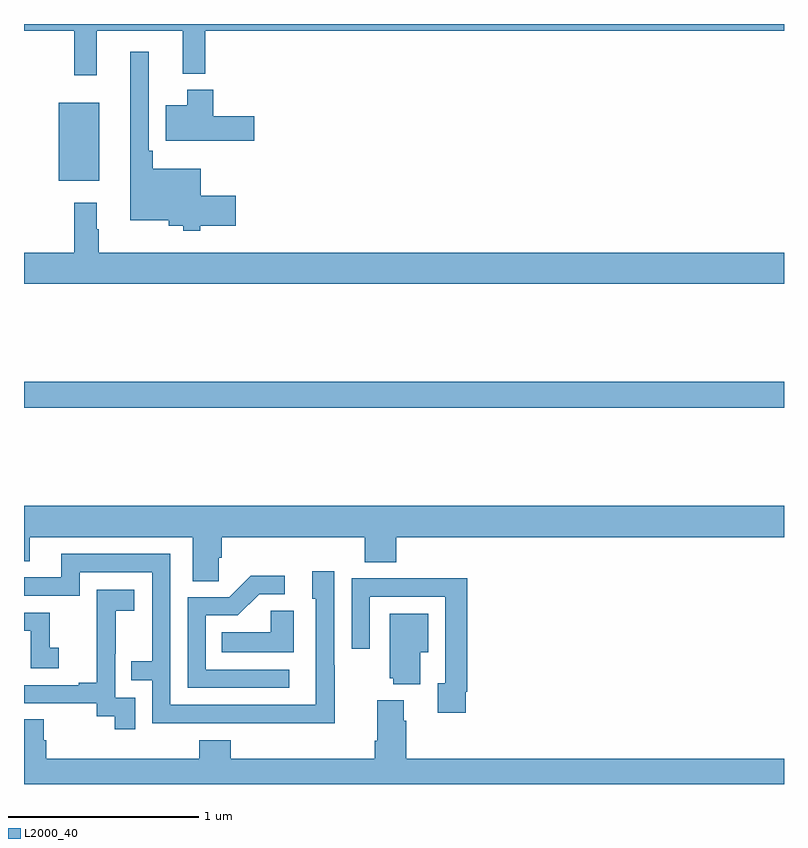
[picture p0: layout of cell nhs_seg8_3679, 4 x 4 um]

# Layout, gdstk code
import gdstk
lib = gdstk.Library(unit=1e-6, precision=1e-09)
def R(c, l, rs):  # rectangles x0, y0, x1, y1
    for r in rs: c.add(gdstk.rectangle(r[:2], r[2:], *l))
def P(c, l, *ps):  # polygons
    for p in ps: c.add(gdstk.Polygon(p, *l))
L2000_40 = (2000, 40)

nhs_seg8_3679 = lib.new_cell('nhs_seg8_3679')
R(nhs_seg8_3679, L2000_40, [(339,1083.88,343,1084.016), (339.182,1085.075,339.397,1085.485)])
P(nhs_seg8_3679, L2000_40, [(339.383,1085.864),(339.836,1085.864),(339.836,1085.639),(339.953,1085.639),(339.953,1085.864),(343,1085.864),(343,1085.9),(339,1085.9),(339,1085.864),(339.265,1085.864),(339.265,1085.631),(339.383,1085.631)],
  [(339.927,1084.838),(340.114,1084.838),(340.114,1084.996),(339.931,1084.996),(339.931,1085.137),(339.677,1085.137),(339.677,1085.233),(339.657,1085.233),(339.657,1085.755),(339.56,1085.755),(339.56,1084.868),(339.761,1084.868),(339.761,1084.838),(339.837,1084.838),(339.837,1084.811),(339.927,1084.811)],
  [(340.213,1085.415),(339.995,1085.415),(339.995,1085.554),(339.86,1085.554),(339.86,1085.473),(339.746,1085.473),(339.746,1085.285),(340.213,1085.285)],
  [(343,1084.696),(339.394,1084.696),(339.394,1084.82),(339.382,1084.82),(339.382,1084.96),(339.265,1084.96),(339.265,1084.696),(339,1084.696),(339,1084.532),(343,1084.532)],
  [(340.026,1083.091),(340.04,1083.091),(340.04,1083.2),(340.793,1083.2),(340.793,1083.067),(340.958,1083.067),(340.958,1083.2),(343,1083.2),(343,1083.364),(339,1083.364),(339,1083.073),(339.031,1083.073),(339.031,1083.2),(339.887,1083.2),(339.887,1082.968),(340.026,1082.968)],
  [(340.635,1082.525),(340.632,1082.525),(340.632,1083.019),(340.517,1083.019),(340.517,1082.874),(340.536,1082.874),(340.536,1082.316),(339.771,1082.316),(339.771,1083.111),(339.197,1083.111),(339.197,1082.988),(339,1082.988),(339,1082.892),(339.294,1082.892),(339.294,1083.015),(339.675,1083.015),(339.675,1082.546),(339.565,1082.546),(339.565,1082.445),(339.675,1082.445),(339.675,1082.22),(340.171,1082.22),(340.171,1082.219),(340.635,1082.219)],
  [(340.396,1082.502),(339.957,1082.502),(339.957,1082.787),(340.126,1082.787),(340.237,1082.898),(340.372,1082.898),(340.372,1082.996),(340.193,1082.996),(340.08,1082.883),(339.861,1082.883),(339.861,1082.406),(340.396,1082.406)],
  [(341.326,1082.386),(341.333,1082.386),(341.333,1082.984),(341.041,1082.984),(341.041,1082.982),(340.725,1082.982),(340.725,1082.613),(340.821,1082.613),(340.821,1082.886),(341.217,1082.886),(341.217,1082.43),(341.177,1082.43),(341.177,1082.274),(341.326,1082.274)],
  [(339.585,1082.355),(339.48,1082.355),(339.48,1082.585),(339.482,1082.585),(339.482,1082.813),(339.58,1082.813),(339.58,1082.923),(339.382,1082.923),(339.382,1082.717),(339.383,1082.717),(339.383,1082.434),(339.287,1082.434),(339.287,1082.421),(339,1082.421),(339,1082.325),(339.384,1082.325),(339.384,1082.257),(339.477,1082.257),(339.477,1082.187),(339.585,1082.187)],
  [(340.42,1082.813),(340.299,1082.813),(340.299,1082.698),(340.042,1082.698),(340.042,1082.594),(340.42,1082.594)],
  [(339.184,1082.617),(339.135,1082.617),(339.135,1082.802),(339,1082.802),(339,1082.706),(339.036,1082.706),(339.036,1082.508),(339.184,1082.508)],
  [(341.086,1082.594),(341.128,1082.594),(341.128,1082.797),(340.925,1082.797),(340.925,1082.457),(340.943,1082.457),(340.943,1082.426),(341.086,1082.426)],
  [(343,1082.032),(341.012,1082.032),(341.012,1082.234),(340.999,1082.234),(340.999,1082.341),(340.859,1082.341),(340.859,1082.128),(340.847,1082.128),(340.847,1082.032),(340.088,1082.032),(340.088,1082.131),(339.923,1082.131),(339.923,1082.032),(339.116,1082.032),(339.116,1082.13),(339.103,1082.13),(339.103,1082.24),(339,1082.24),(339,1081.9),(343,1081.9)])

lib.write_gds('nhs_seg8_3679.gds')
